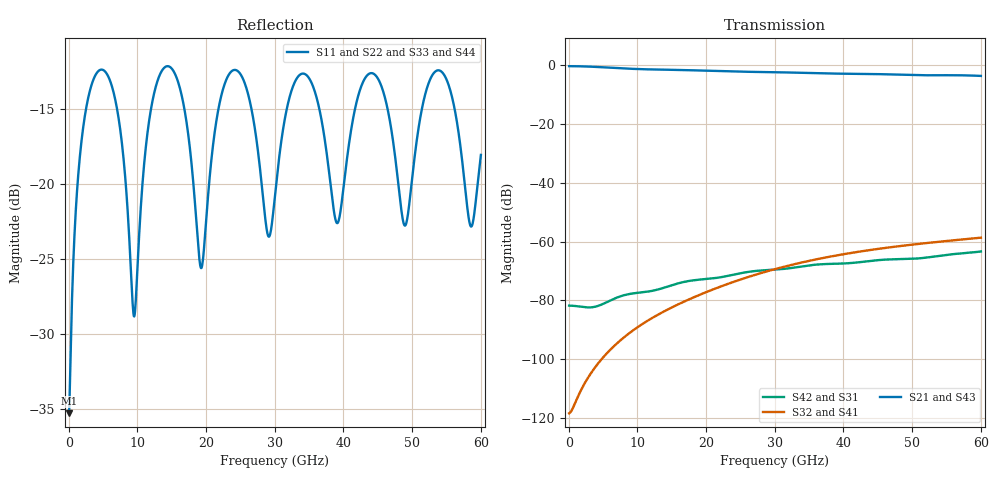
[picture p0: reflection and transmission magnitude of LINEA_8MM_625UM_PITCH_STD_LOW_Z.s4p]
! TOUCHSTONE file generated by CST MICROWAVE STUDIO
! Date and time: Tue Oct 27 15:05:25 2026
! Project name: LINEA_8MM_200UM_PITCH_STD_LOW_Z.cst
! Parameters = {CHANNEL_PITCH=0.625; GAP=0.00415; L=8; L1=0.02; L2=0.086; L3=0.066; NCELL=1; PITCH=0.18; START_POSITION=0.08; W1=0.003; W2=0.004; W3=0.009; WG=0.04985; gap_oxr=0.00125; linbo3_thickness=0.0002; mtx=0.002; oxiDinE=0.0014; w=0.15; ws=0.035}
! Header version: 2024
! Port assignment regex: !\s*Touchstone port\s*([0-9]+)\s*=\s*(CST MWS port|CST DES external port|CST DES block port)\s*(.+)\s* \(\"(.*)\"\)(\s*mode\s*([0-9]+))?.*
! Touchstone port assignment:
! Touchstone port 1 = CST MWS port 1 ("")
! Touchstone port 2 = CST MWS port 2 ("")
! Touchstone port 3 = CST MWS port 3 ("")
! Touchstone port 4 = CST MWS port 4 ("")
# GHz S MA R 50
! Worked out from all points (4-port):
!   1000 points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, 60 MHz to 60 GHz, reference 50 ohm
!   strongest paths, dB at 60 MHz, 15.06 GHz, 30.06 GHz, 45.06 GHz, 60 GHz:
!     S21: -0.4, -1.7, -2.5, -3.1, -3.7
!     S43: -0.4, -1.7, -2.5, -3.1, -3.7
!     S32: -118.3, -82.3, -69.3, -62.5, -58.7
!     S41: -118.3, -82.3, -69.3, -62.5, -58.7
!     S42: -81.8, -74.8, -69.5, -66.3, -63.4
!     S31: -81.8, -74.8, -69.5, -66.3, -63.4
!   lowest |S11| = -35.3 dB at 60 MHz (marker M1), VSWR 1.04, Z = 51.7 - j0.522 ohm
!   |S11| at or under -10 dB: start of sweep to end of sweep
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0.06  0.0172 -17.1  0.9534 -1.2  8.096e-05 -2.5  1.293e-06 1.7
      0.9534 -1.2  0.0172 -17.1  1.292e-06 1.7  8.096e-05 -2.5
      8.167e-05 -2.5  1.211e-06 2.0  0.01723 -17.0  0.9533 -1.2
      1.21e-06 2.0  8.167e-05 -2.5  0.9533 -1.2  0.01723 -17.0
9.24  0.0424 160.0  0.8593 -176.3  0.0001304 -41.3  3.021e-05 -163.0
      0.8593 -176.3  0.0424 160.0  3.021e-05 -163.0  0.0001304 -41.3
      0.0001311 -41.3  3.026e-05 -163.1  0.04239 160.1  0.8592 -176.3
      3.026e-05 -163.1  0.0001311 -41.3  0.8592 -176.3  0.04239 160.1
18.78  0.06505 156.4  0.8062 7.7  0.0002235 -59.5  0.0001208 0.3
       0.8062 7.7  0.06505 156.4  0.0001208 0.3  0.0002235 -59.5
       0.0002242 -59.7  0.0001208 0.4  0.06503 156.5  0.8062 7.7
       0.0001208 0.4  0.0002242 -59.7  0.8062 7.7  0.06503 156.5
28.92  0.06851 173.5  0.7571 -178.0  0.0003274 -89.5  0.0003139 153.5
       0.7571 -178.0  0.06851 173.5  0.0003139 153.5  0.0003274 -89.5
       0.0003275 -89.6  0.0003138 153.5  0.06854 173.6  0.7571 -178.0
       0.0003138 153.5  0.0003275 -89.6  0.7571 -178.0  0.06854 173.6
38.22  0.095 157.3  0.7142 11.9  0.0004197 -82.3  0.0005597 -38.4
       0.7142 11.9  0.095 157.3  0.0005597 -38.4  0.0004197 -82.3
       0.0004187 -82.5  0.0005599 -38.4  0.095 157.4  0.7141 11.9
       0.0005599 -38.4  0.0004187 -82.5  0.7141 11.9  0.095 157.4
48.54  0.0783 167.0  0.6793 -177.1  0.0005056 -107.8  0.0008481 111.0
       0.6793 -177.1  0.0783 167.0  0.0008481 111.0  0.0005056 -107.8
       0.0005035 -107.7  0.000848 111.0  0.07833 167.0  0.6792 -177.1
       0.000848 111.0  0.0005035 -107.7  0.6792 -177.1  0.07833 167.1
60  0.1249 -146.2  0.6514 -26.8  0.0006792 -168.1  0.001166 -117.3
    0.6514 -26.8  0.1249 -146.2  0.001166 -117.3  0.0006792 -168.1
    0.0006792 -167.8  0.001165 -117.3  0.125 -146.2  0.6512 -26.8
    0.001165 -117.3  0.0006792 -167.8  0.6512 -26.8  0.125 -146.2
